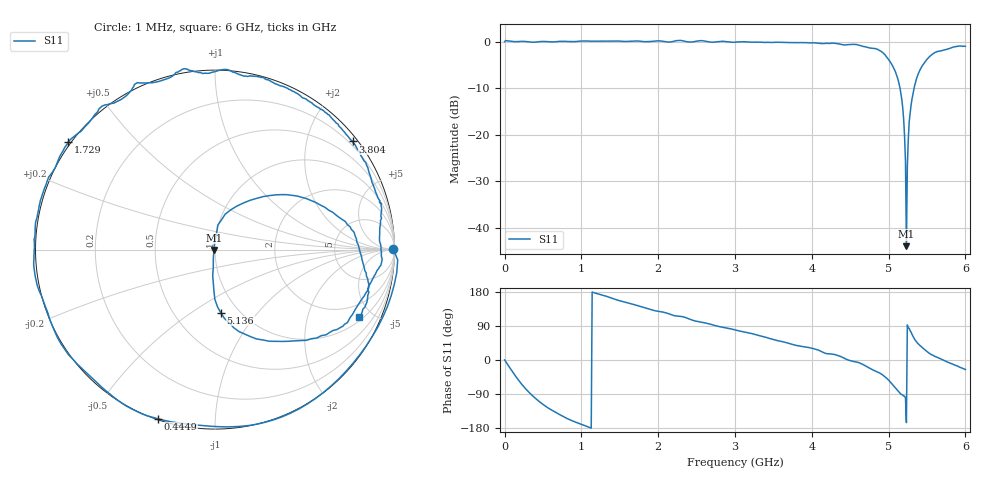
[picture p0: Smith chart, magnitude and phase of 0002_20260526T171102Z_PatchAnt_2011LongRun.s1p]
# Hz S RI R 50
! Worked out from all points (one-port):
!   501 points, 1 MHz to 6 GHz, reference 50 ohm
!   lowest |S11| = -43.9 dB at 5.232 GHz (marker M1), VSWR 1.01, Z = 49.4 - j0.161 ohm
!   |S11| at or under -10 dB: 5.149 GHz to 5.332 GHz (183.2 MHz wide, 3.5 % of centre)
!   S11 on the Smith chart (normalised r, x): 1 MHz: open; 444.9 MHz: 0.00, -0.72; 1.729 GHz: -0.01, +0.33; 3.804 GHz: 0.12, +2.89; 5.136 GHz: 0.83, -0.66; 6 GHz: 1.18, -4.19
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1000000  0.9942 0.00146
8.4986e7  0.907 -0.432
2.16964e8  0.4674 -0.8879
3.0095e8  0.1439 -0.9846
4.44926e8  -0.3159 -0.9431
7.56874e8  -0.8564 -0.5275
1.056824e9  -1.008 -0.1043
1.50075e9  -0.9267 0.4047
1.728712e9  -0.8174 0.5985
2.256624e9  -0.4458 0.9221
3.0005e9  0.1821 0.9643
3.756374e9  0.7379 0.6343
3.804366e9  0.767 0.6023
4.308282e9  0.9283 0.2297
4.50025e9  0.9266 -0.0246
4.872188e9  0.6784 -0.4457
5.028162e9  0.3029 -0.5106
5.136144e9  0.0316 -0.351
5.184136e9  -0.00861 -0.1955
5.196134e9  -0.0127 -0.1466
5.208132e9  -0.00952 -0.0965
5.232128e9  -0.0062 -0.00163
5.256124e9  0.00786 0.0869
5.268122e9  0.0158 0.1365
5.292118e9  0.0573 0.1979
5.412098e9  0.3976 0.3062
5.628062e9  0.7739 0.0981
6e9  0.8044 -0.3762
